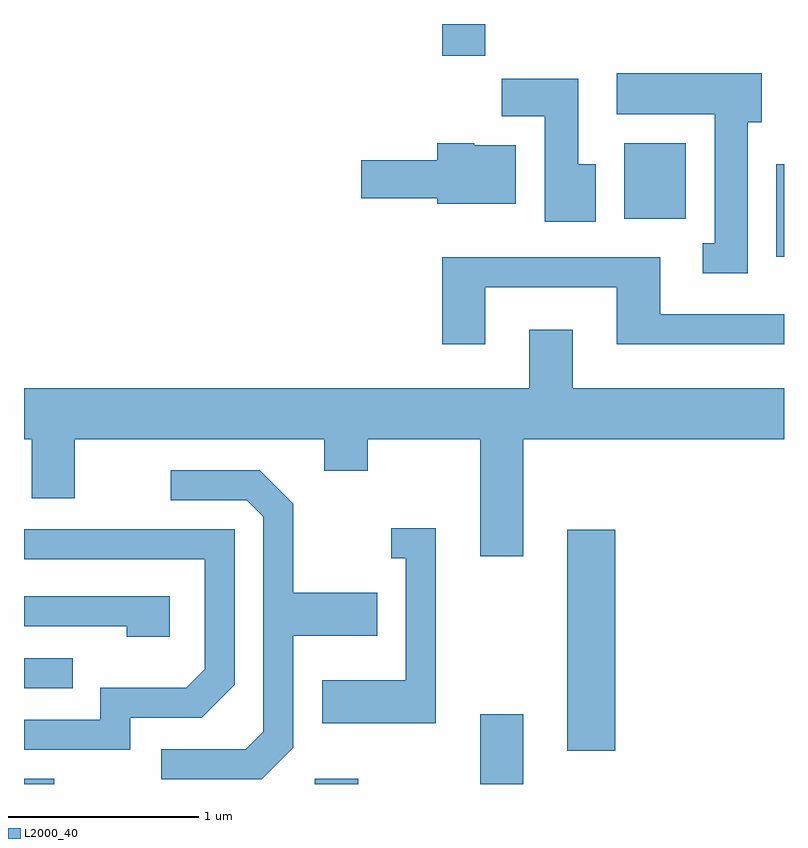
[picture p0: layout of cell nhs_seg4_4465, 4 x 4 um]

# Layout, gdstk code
import gdstk
lib = gdstk.Library(unit=1e-6, precision=1e-09)
def R(c, l, rs):  # rectangles x0, y0, x1, y1
    for r in rs: c.add(gdstk.rectangle(r[:2], r[2:], *l))
def P(c, l, *ps):  # polygons
    for p in ps: c.add(gdstk.Polygon(p, *l))
L2000_40 = (2000, 40)

nhs_seg4_4465 = lib.new_cell('nhs_seg4_4465')
R(nhs_seg4_4465, L2000_40, [(315.611,1343.982,315.769,1344.009), (317.141,1343.982,317.369,1344.009), (318.011,1343.982,318.239,1344.349), (318.471,1344.156,318.724,1345.319), (315.611,1344.486,315.868,1344.644), (319.571,1346.756,319.611,1347.244), (318.771,1346.956,319.094,1347.354), (317.811,1347.816,318.039,1347.982)])
P(nhs_seg4_4465, L2000_40, [(319.419,1347.466),(319.494,1347.466),(319.494,1347.724),(318.731,1347.724),(318.731,1347.506),(319.246,1347.506),(319.246,1346.829),(319.183,1346.829),(319.183,1346.671),(319.419,1346.671)],
  [(318.619,1347.244),(318.529,1347.244),(318.529,1347.694),(318.126,1347.694),(318.126,1347.496),(318.351,1347.496),(318.351,1346.941),(318.619,1346.941)],
  [(318.199,1347.344),(317.98,1347.344),(317.98,1347.354),(317.786,1347.354),(317.786,1347.264),(317.386,1347.264),(317.386,1347.066),(317.786,1347.066),(317.786,1347.036),(318.199,1347.036)],
  [(318.039,1346.596),(318.731,1346.596),(318.731,1346.296),(319.611,1346.296),(319.611,1346.454),(318.959,1346.454),(318.959,1346.754),(317.811,1346.754),(317.811,1346.296),(318.039,1346.296)],
  [(318.239,1345.796),(319.611,1345.796),(319.611,1346.064),(318.499,1346.064),(318.499,1346.374),(318.271,1346.374),(318.271,1346.064),(315.611,1346.064),(315.611,1345.796),(315.651,1345.796),(315.651,1345.486),(315.879,1345.486),(315.879,1345.796),(317.191,1345.796),(317.191,1345.631),(317.419,1345.631),(317.419,1345.796),(318.011,1345.796),(318.011,1345.181),(318.239,1345.181)],
  [(317.029,1344.174),(317.029,1344.761),(317.469,1344.761),(317.469,1344.989),(317.029,1344.989),(317.029,1345.457),(316.852,1345.634),(316.383,1345.634),(316.383,1345.476),(316.784,1345.476),(316.871,1345.389),(316.871,1344.257),(316.779,1344.164),(316.333,1344.164),(316.333,1344.006),(316.862,1344.006)],
  [(317.779,1345.329),(317.543,1345.329),(317.543,1345.171),(317.621,1345.171),(317.621,1344.529),(317.181,1344.529),(317.181,1344.301),(317.779,1344.301)],
  [(316.169,1344.331),(316.547,1344.331),(316.719,1344.504),(316.719,1345.324),(315.611,1345.324),(315.611,1345.166),(316.561,1345.166),(316.561,1344.587),(316.464,1344.489),(316.011,1344.489),(316.011,1344.319),(315.611,1344.319),(315.611,1344.161),(316.169,1344.161)],
  [(316.379,1344.969),(315.611,1344.969),(315.611,1344.811),(316.151,1344.811),(316.151,1344.756),(316.379,1344.756)])

lib.write_gds('nhs_seg4_4465.gds')
